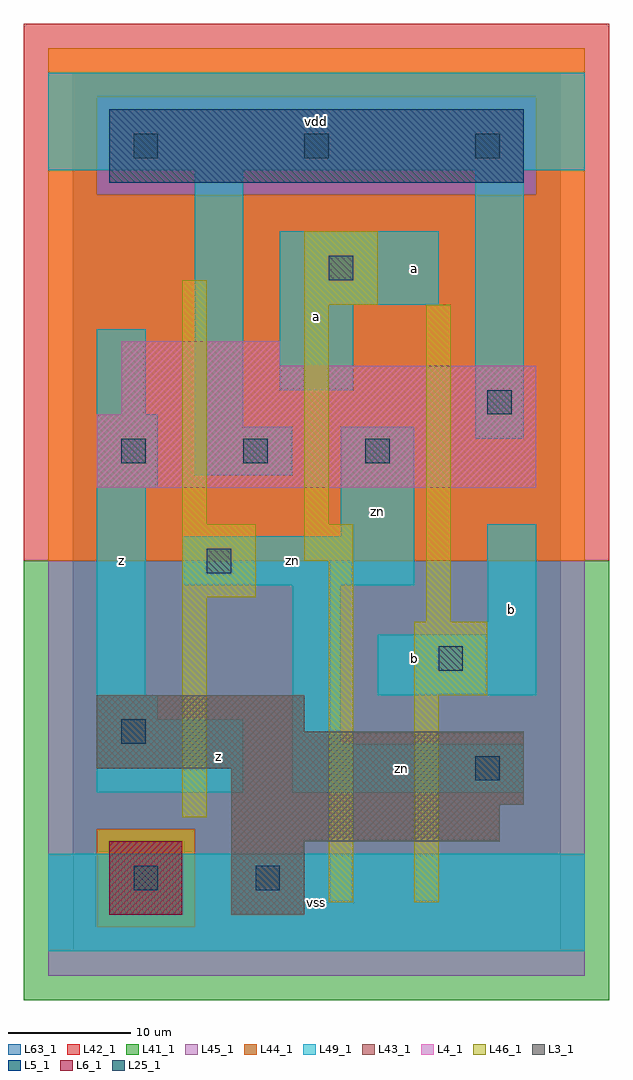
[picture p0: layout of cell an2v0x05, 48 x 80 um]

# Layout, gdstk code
import gdstk
lib = gdstk.Library(unit=1e-6, precision=1e-09)
def R(c, l, rs):  # rectangles x0, y0, x1, y1
    for r in rs: c.add(gdstk.rectangle(r[:2], r[2:], *l))
def A(c, l, x, y, w, h, nx, ny, dx, dy):  # array of equal rectangles
    R(c, l, [(x+i*dx, y+j*dy, x+i*dx+w, y+j*dy+h) for i in range(nx) for j in range(ny)])
L3_1 = (3, 1)
L4_1 = (4, 1)
L5_1 = (5, 1)
L6_1 = (6, 1)
L25_1 = (25, 1)
L41_1 = (41, 1)
L42_1 = (42, 1)
L43_1 = (43, 1)
L44_1 = (44, 1)
L45_1 = (45, 1)
L46_1 = (46, 1)
L49_1 = (49, 1)
L63_1 = (63, 1)

an2v0x05 = lib.new_cell('an2v0x05')
R(an2v0x05, L3_1, [(13,3,19,9), (13,9,35,12), (13,12,37,15), (2,15,37,18), (2,18,19,21)])
R(an2v0x05, L4_1, [(2,38,38,44), (4,44,38,48), (4,48,17,50)])
R(an2v0x05, L5_1, [(3,63,37,69)])
R(an2v0x05, L6_1, [(3,3,9,9), (3,3,9,9)])
A(an2v0x05, L25_1, 4, 40, 2, 2, 3, 1, 10, 0)
A(an2v0x05, L25_1, 5, 65, 2, 2, 3, 1, 14, 0)
R(an2v0x05, L25_1, [(5,5,7,7), (15,5,17,7), (33,14,35,16), (4,17,6,19), (30,23,32,25), (11,31,13,33), (34,44,36,46), (21,55,23,57)])
R(an2v0x05, L41_1, [(-4,-4,44,32)])
R(an2v0x05, L42_1, [(-4,32,44,76)])
R(an2v0x05, L43_1, [(3,3,9,9), (13,3,19,9), (13,9,35,12), (13,12,37,15), (2,15,37,18), (2,18,19,21), (2,38,38,44), (4,44,38,48), (4,48,17,50), (3,63,37,69)])
R(an2v0x05, L44_1, [(2,2,10,10), (-2,32,42,62), (-2,62,2,70), (38,62,42,70), (-2,70,42,74)])
R(an2v0x05, L45_1, [(-2,-2,42,2), (-2,2,2,10), (10,2,42,10), (-2,10,42,32), (2,62,38,70)])
R(an2v0x05, L46_1, [(21,4,23,32), (28,4,30,21), (9,11,11,29), (28,21,34,27), (29,27,31,53), (9,29,15,35), (19,32,23,35), (9,35,11,55), (19,35,21,53), (19,53,25,59)])
R(an2v0x05, L49_1, [(-2,0,42,8), (2,13,14,19), (18,13,37,17), (18,17,22,30), (2,19,7,21), (2,21,6,38), (25,21,38,26), (34,26,38,35), (9,30,28,34), (22,34,28,43), (2,38,7,44), (10,39,18,43), (33,42,37,64), (10,43,14,64), (2,44,6,51), (17,46,23,53), (17,53,30,59), (-2,64,42,72)])
R(an2v0x05, L63_1, [(0,0,40,72)])
an2v0x05.add(gdstk.Label('z', (4,32), layer=49, texttype=1))
an2v0x05.add(gdstk.Label('z', (12,16), layer=49, texttype=1))
an2v0x05.add(gdstk.Label('vss', (20,4), layer=49, texttype=1))
an2v0x05.add(gdstk.Label('zn', (18,32), layer=49, texttype=1))
an2v0x05.add(gdstk.Label('b', (28,24), layer=49, texttype=1))
an2v0x05.add(gdstk.Label('zn', (25,36), layer=49, texttype=1))
an2v0x05.add(gdstk.Label('a', (20,52), layer=49, texttype=1))
an2v0x05.add(gdstk.Label('a', (28,56), layer=49, texttype=1))
an2v0x05.add(gdstk.Label('vdd', (20,68), layer=49, texttype=1))
an2v0x05.add(gdstk.Label('zn', (27,15), layer=49, texttype=1))
an2v0x05.add(gdstk.Label('b', (36,28), layer=49, texttype=1))

lib.write_gds('an2v0x05.gds')
